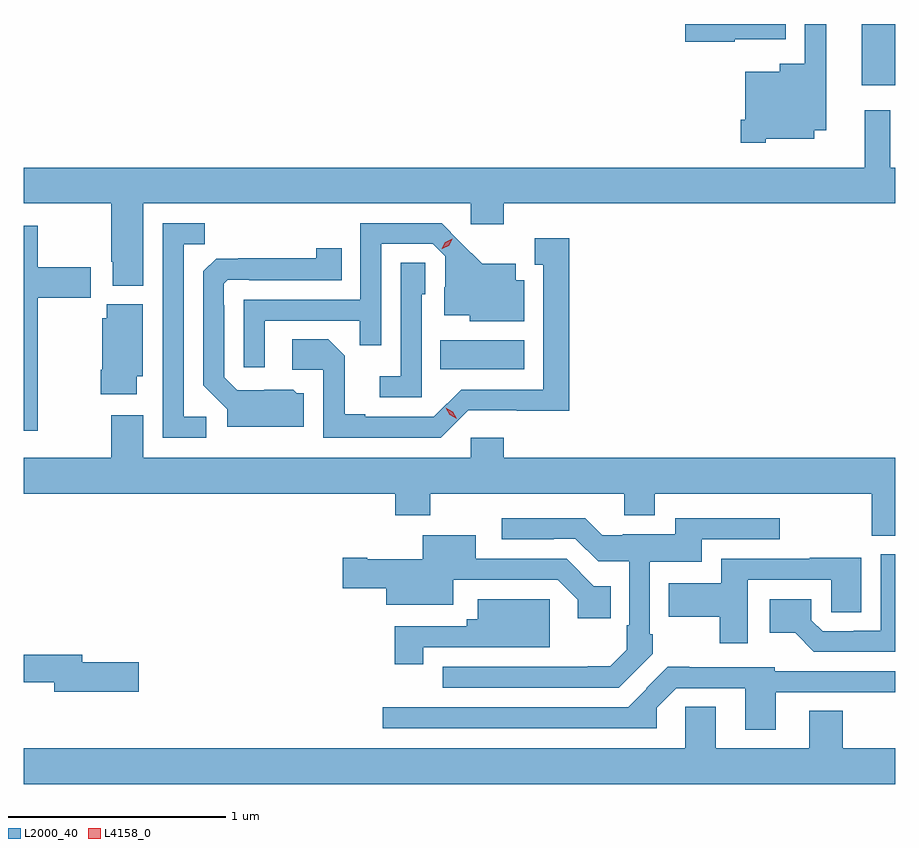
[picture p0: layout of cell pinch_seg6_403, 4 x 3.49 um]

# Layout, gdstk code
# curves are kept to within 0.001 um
import gdstk
lib = gdstk.Library(unit=1e-6, precision=1e-09)
def R(c, l, rs):  # rectangles x0, y0, x1, y1
    for r in rs: c.add(gdstk.rectangle(r[:2], r[2:], *l))
def P(c, l, *ps):  # polygons
    for p in ps: c.add(gdstk.Polygon(p, *l))
L2000_40 = (2000, 40)
L4158_0 = (4158, 0)

pinch_seg6_403 = lib.new_cell('pinch_seg6_403')
R(pinch_seg6_403, L2000_40, [(665.506,923.93,665.89,924.064), (667.439,925.235,667.594,925.515)])
P(pinch_seg6_403, L2000_40, [(666.858,925.445),(667.09,925.445),(667.09,925.515),(666.63,925.515),(666.63,925.433),(666.858,925.433)],
  [(666.999,924.989),(667.222,924.989),(667.222,925.028),(667.276,925.028),(667.276,925.515),(667.179,925.515),(667.179,925.333),(667.064,925.333),(667.064,925.297),(666.905,925.297),(666.905,925.075),(666.884,925.075),(666.884,924.971),(666.999,924.971)],
  [(664.144,924.692),(665.646,924.692),(665.646,924.597),(665.798,924.597),(665.798,924.692),(667.594,924.692),(667.594,924.856),(667.571,924.856),(667.571,925.12),(667.453,925.12),(667.453,924.856),(663.594,924.856),(663.594,924.692),(663.997,924.692),(663.997,924.424),(664.004,924.424),(664.004,924.314),(664.144,924.314)],
  [(664.432,923.712),(664.329,923.712),(664.329,924.505),(664.425,924.505),(664.425,924.6),(664.233,924.6),(664.233,923.616),(664.432,923.616)],
  [(664.701,924.153),(665.137,924.153),(665.137,924.04),(665.235,924.04),(665.235,924.507),(665.472,924.507),(665.529,924.45),(665.529,924.308),(665.525,924.308),(665.525,924.179),(665.64,924.179),(665.64,924.152),(665.89,924.152),(665.89,924.339),(665.851,924.339),(665.851,924.415),(665.699,924.415),(665.512,924.6),(665.139,924.6),(665.139,924.249),(664.605,924.249),(664.605,923.94),(664.701,923.94)],
  [(663.66,924.259),(663.901,924.259),(663.901,924.399),(663.66,924.399),(663.66,924.589),(663.594,924.589),(663.594,923.649),(663.66,923.649)],
  [(665.634,923.742),(666.097,923.741),(666.097,924.532),(665.939,924.532),(665.939,924.411),(665.978,924.411),(665.978,923.838),(665.601,923.838),(665.475,923.712),(665.161,923.712),(665.161,923.725),(665.067,923.725),(665.067,923.992),(664.991,924.068),(664.827,924.068),(664.827,923.928),(664.968,923.928),(664.968,923.616),(665.508,923.616)],
  [(664.879,923.82),(664.848,923.82),(664.832,923.836),(664.575,923.835),(664.515,923.895),(664.515,924.224),(664.512,924.224),(664.512,924.324),(664.53,924.342),(664.63,924.342),(664.63,924.339),(665.054,924.339),(665.054,924.487),(664.936,924.487),(664.936,924.44),(664.478,924.439),(664.419,924.38),(664.419,923.858),(664.529,923.748),(664.529,923.666),(664.879,923.666)],
  [(665.421,924.276),(665.436,924.276),(665.436,924.419),(665.325,924.419),(665.325,923.899),(665.229,923.899),(665.229,923.802),(665.421,923.802)],
  [(664.114,923.898),(664.141,923.898),(664.141,924.229),(663.976,924.229),(663.976,924.165),(663.956,924.165),(663.956,923.929),(663.949,923.929),(663.949,923.817),(664.114,923.817)],
  [(667.594,923.524),(665.798,923.524),(665.798,923.617),(665.646,923.617),(665.646,923.524),(664.144,923.524),(664.144,923.719),(663.997,923.719),(663.997,923.524),(663.594,923.524),(663.594,923.36),(665.3,923.36),(665.3,923.261),(665.46,923.261),(665.46,923.36),(666.35,923.36),(666.35,923.261),(666.49,923.261),(666.49,923.36),(667.486,923.36),(667.486,923.168),(667.594,923.168)],
  [(666.481,922.625),(666.481,922.714),(666.468,922.714),(666.468,923.048),(666.706,923.048),(666.706,923.151),(667.063,923.151),(667.063,923.247),(666.584,923.247),(666.584,923.173),(666.343,923.173),(666.343,923.169),(666.249,923.169),(666.17,923.248),(665.787,923.248),(665.787,923.151),(666.026,923.151),(666.026,923.154),(666.126,923.154),(666.231,923.049),(666.372,923.049),(666.372,922.756),(666.362,922.756),(666.362,922.644),(666.286,922.569),(666.182,922.569),(666.182,922.566),(665.517,922.566),(665.517,922.47),(666.325,922.47)],
  [(666.287,922.936),(666.21,922.936),(666.085,923.061),(665.668,923.061),(665.668,923.17),(665.426,923.17),(665.426,923.059),(665.17,923.059),(665.17,923.067),(665.058,923.067),(665.058,922.925),(665.258,922.925),(665.258,922.85),(665.566,922.85),(665.566,922.965),(666.045,922.965),(666.137,922.873),(666.137,922.788),(666.287,922.788)],
  [(667.594,923.083),(667.526,923.083),(667.526,922.731),(667.402,922.731),(667.402,922.728),(667.26,922.728),(667.209,922.779),(667.209,922.876),(667.017,922.876),(667.017,922.721),(667.134,922.721),(667.22,922.635),(667.594,922.635)],
  [(666.916,922.965),(667.299,922.965),(667.299,922.816),(667.438,922.816),(667.438,923.066),(667.202,923.066),(667.202,923.061),(666.794,923.061),(666.794,922.948),(666.553,922.948),(666.553,922.796),(666.787,922.796),(666.787,922.674),(666.916,922.674)],
  [(665.428,922.656),(665.731,922.656),(665.731,922.655),(666.007,922.655),(666.007,922.876),(665.678,922.876),(665.678,922.783),(665.627,922.783),(665.627,922.752),(665.298,922.752),(665.298,922.578),(665.428,922.578)],
  [(664.123,922.586),(663.862,922.586),(663.862,922.622),(663.594,922.622),(663.594,922.494),(663.734,922.494),(663.734,922.451),(664.123,922.451)],
  [(667.045,922.449),(667.594,922.449),(667.594,922.545),(667.041,922.545),(667.041,922.563),(666.649,922.563),(666.649,922.566),(666.549,922.566),(666.451,922.468),(666.454,922.465),(666.369,922.38),(665.241,922.38),(665.241,922.284),(666.498,922.284),(666.498,922.377),(666.588,922.467),(666.905,922.467),(666.905,922.278),(667.045,922.278)],
  [(667.594,922.192),(667.352,922.192),(667.352,922.364),(667.199,922.364),(667.199,922.192),(666.769,922.192),(666.769,922.382),(666.63,922.382),(666.63,922.192),(663.594,922.192),(663.594,922.028),(667.594,922.028)])
P(pinch_seg6_403, L4158_0, [(665.581,923.704),(665.549,923.723),(665.532,923.755),(665.532,923.755),(665.532,923.755),(665.564,923.736),(665.581,923.704),(665.581,923.704)],
  [(665.513,924.483),(665.513,924.483),(665.529,924.513),(665.56,924.529),(665.56,924.529),(665.56,924.528),(665.544,924.498),(665.514,924.483)])

lib.write_gds('pinch_seg6_403.gds')
